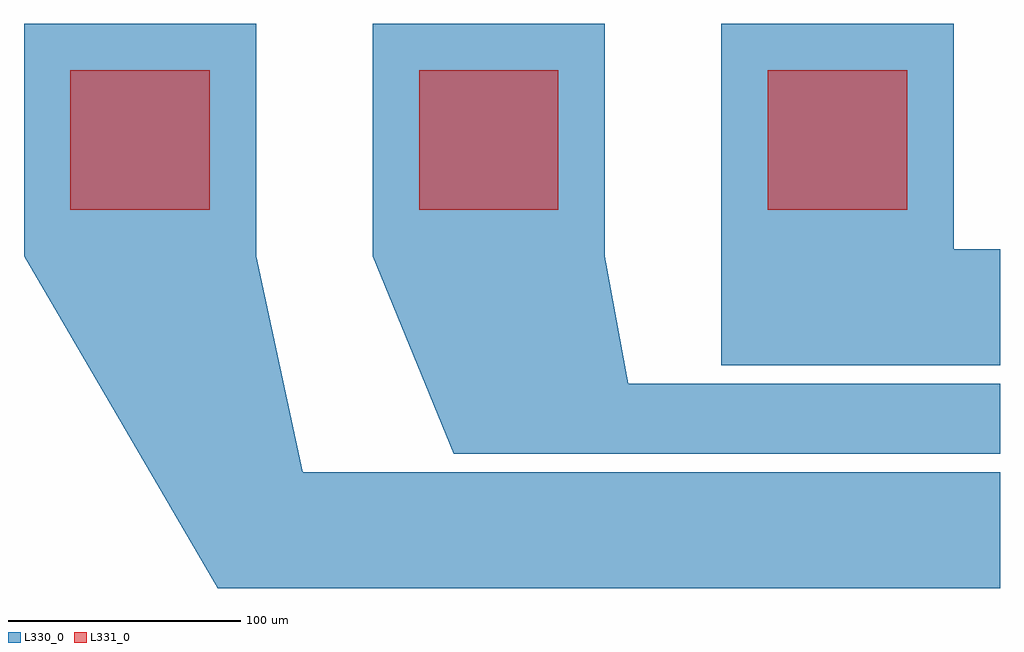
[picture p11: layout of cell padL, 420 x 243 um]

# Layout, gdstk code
import gdstk
lib = gdstk.Library(unit=1e-6, precision=5e-09)
def R(c, l, rs):  # rectangles x0, y0, x1, y1
    for r in rs: c.add(gdstk.rectangle(r[:2], r[2:], *l))
def A(c, l, x, y, w, h, nx, ny, dx, dy):  # array of equal rectangles
    R(c, l, [(x+i*dx, y+j*dy, x+i*dx+w, y+j*dy+h) for i in range(nx) for j in range(ny)])
def P(c, l, *ps):  # polygons
    for p in ps: c.add(gdstk.Polygon(p, *l))
L330_0 = (330, 0)
L331_0 = (331, 0)

padl = lib.new_cell('padL')
P(padl, L330_0, [(33.445,-193),(-50,-50),(-50,50),(50,50),(50,-50),(70,-143),(370,-143),(370,-193)],
  [(135,-135),(100,-50),(100,50),(200,50),(200,-50),(210,-105),(370,-105),(370,-135)],
  [(250,-97),(250,50),(350,50),(350,-47),(370,-47),(370,-97)])
A(padl, L331_0, -30, -30, 60, 60, 3, 1, 150, 0)

lib.write_gds('padL.gds')
